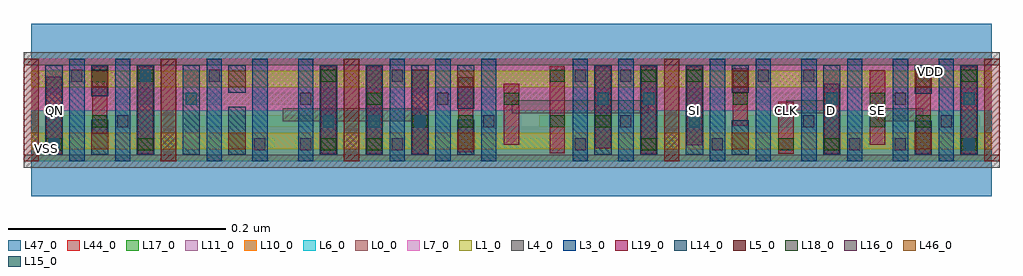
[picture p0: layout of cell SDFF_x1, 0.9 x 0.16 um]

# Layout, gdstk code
import gdstk
lib = gdstk.Library(unit=1e-6, precision=5e-10)
def R(c, l, rs):  # rectangles x0, y0, x1, y1
    for r in rs: c.add(gdstk.rectangle(r[:2], r[2:], *l))
def A(c, l, x, y, w, h, nx, ny, dx, dy):  # array of equal rectangles
    R(c, l, [(x+i*dx, y+j*dy, x+i*dx+w, y+j*dy+h) for i in range(nx) for j in range(ny)])
L0_0 = (0, 0)
L1_0 = (1, 0)
L3_0 = (3, 0)
L4_0 = (4, 0)
L5_0 = (5, 0)
L6_0 = (6, 0)
L7_0 = (7, 0)
L10_0 = (10, 0)
L11_0 = (11, 0)
L14_0 = (14, 0)
L15_0 = (15, 0)
L16_0 = (16, 0)
L17_0 = (17, 0)
L18_0 = (18, 0)
L19_0 = (19, 0)
L44_0 = (44, 0)
L46_0 = (46, 0)
L47_0 = (47, 0)

sdff_x1 = lib.new_cell('SDFF_x1')
R(sdff_x1, L0_0, [(0,0.047,0.882,0.094)])
R(sdff_x1, L1_0, [(0,0.011,0.882,0.026), (0,0.068,0.882,0.083)])
A(sdff_x1, L3_0, 0.161, 0, 0.014, 0.094, 3, 1, 0.042, 0)
A(sdff_x1, L3_0, 0.329, 0, 0.014, 0.094, 3, 1, 0.042, 0)
A(sdff_x1, L3_0, 0.623, 0, 0.014, 0.094, 6, 1, 0.042, 0)
R(sdff_x1, L3_0, [(0.035,0,0.049,0.094), (0.077,0,0.091,0.094), (0.497,0,0.511,0.094), (0.539,0,0.553,0.094)])
R(sdff_x1, L4_0, [(-0.007,-0.006,0.889,0.006), (0.231,0.0365,0.357,0.0485), (0.777,0.0365,0.819,0.0485), (0.441,0.044,0.567,0.056), (0.693,0.044,0.735,0.056), (-0.007,0.088,0.889,0.1)])
A(sdff_x1, L5_0, 0.287, 0, 0.014, 0.094, 3, 1, 0.294, 0)
R(sdff_x1, L5_0, [(-0.007,0,0.007,0.094), (0.119,0,0.133,0.094)])
R(sdff_x1, L6_0, [(0,0,0.882,0.047)])
R(sdff_x1, L7_0, [(0,0.047,0.882,0.094)])
R(sdff_x1, L10_0, [(0,0,0.882,0.047)])
R(sdff_x1, L11_0, [(0,0.047,0.882,0.094)])
A(sdff_x1, L14_0, 0.265, 0.006, 0.016, 0.082, 3, 1, 0.042, 0)
A(sdff_x1, L14_0, 0.517, 0.006, 0.016, 0.082, 3, 1, 0.042, 0)
R(sdff_x1, L14_0, [(0.013,0.006,0.029,0.088), (0.055,0.006,0.071,0.038), (0.097,0.006,0.113,0.088), (0.139,0.006,0.155,0.088), (0.181,0.006,0.197,0.05), (0.391,0.006,0.407,0.038), (0.643,0.006,0.659,0.0375), (0.727,0.006,0.743,0.088), (0.811,0.006,0.827,0.037), (0.853,0.006,0.869,0.088), (0.391,0.048,0.407,0.088), (0.055,0.0595,0.071,0.088), (0.811,0.062,0.827,0.088), (0.181,0.063,0.197,0.088), (0.643,0.063,0.659,0.088)])
A(sdff_x1, L15_0, 0.268, 0.031, 0.01, 0.011, 3, 1, 0.042, 0)
R(sdff_x1, L15_0, [(0.016,0.01,0.026,0.021), (0.856,0.01,0.866,0.021), (0.604,0.031,0.614,0.042), (0.142,0.052,0.152,0.063), (0.52,0.052,0.53,0.063), (0.562,0.052,0.572,0.063), (0.73,0.052,0.74,0.063), (0.856,0.052,0.866,0.063), (0.1,0.073,0.11,0.084)])
A(sdff_x1, L16_0, 0.499, 0.01, 0.01, 0.011, 3, 1, 0.126, 0)
A(sdff_x1, L16_0, 0.163, 0.073, 0.01, 0.011, 3, 1, 0.168, 0)
R(sdff_x1, L16_0, [(0.205,0.01,0.215,0.021), (0.247,0.01,0.257,0.021), (0.331,0.01,0.341,0.021), (0.793,0.01,0.803,0.021), (0.079,0.031,0.089,0.042), (0.415,0.031,0.425,0.042), (0.541,0.031,0.551,0.042), (0.709,0.031,0.719,0.042), (0.835,0.031,0.845,0.042), (0.247,0.052,0.257,0.063), (0.373,0.052,0.383,0.063), (0.793,0.052,0.803,0.063), (0.037,0.073,0.047,0.084), (0.541,0.073,0.551,0.084), (0.667,0.073,0.677,0.084), (0.709,0.073,0.719,0.084)])
R(sdff_x1, L17_0, [(0.01,0.01,0.06,0.021), (0.094,0.01,0.2235,0.021), (0.242,0.01,0.286,0.021), (0.305,0.01,0.577,0.021), (0.4945,0.01,0.591,0.021), (0.615,0.01,0.707,0.021), (0.725,0.01,0.7695,0.021), (0.789,0.01,0.872,0.021), (0.799,0.01,0.87,0.021), (0.016,0.031,0.105,0.042), (0.021,0.031,0.324,0.042), (0.261,0.031,0.2945,0.042), (0.342,0.031,0.367,0.042), (0.3455,0.031,0.398,0.042), (0.346,0.031,0.4355,0.042), (0.4665,0.031,0.619,0.042), (0.5255,0.031,0.602,0.042), (0.5835,0.031,0.638,0.042), (0.6565,0.031,0.871,0.042), (0.672,0.031,0.771,0.042), (0.0645,0.052,0.268,0.063), (0.2305,0.052,0.32,0.063), (0.3045,0.052,0.334,0.063), (0.369,0.052,0.5145,0.063), (0.3845,0.052,0.54,0.063), (0.558,0.052,0.639,0.063), (0.591,0.052,0.7455,0.063), (0.764,0.052,0.813,0.063), (0.77,0.052,0.8145,0.063), (0.845,0.052,0.87,0.063), (0.019,0.073,0.0735,0.084), (0.0915,0.073,0.1165,0.084), (0.1345,0.073,0.3495,0.084), (0.186,0.073,0.4895,0.084), (0.315,0.073,0.519,0.084), (0.537,0.073,0.5805,0.084), (0.5985,0.073,0.687,0.084), (0.705,0.073,0.871,0.084)])
R(sdff_x1, L18_0, [(0.014,0.01,0.028,0.021), (0.098,0.01,0.112,0.021), (0.266,0.01,0.28,0.021), (0.308,0.01,0.322,0.021), (0.56,0.01,0.574,0.021), (0.686,0.01,0.7,0.021), (0.728,0.01,0.742,0.021), (0.854,0.01,0.868,0.021), (0.056,0.031,0.07,0.042), (0.35,0.031,0.364,0.042), (0.392,0.031,0.406,0.042), (0.476,0.031,0.49,0.042), (0.518,0.031,0.532,0.042), (0.77,0.031,0.784,0.042), (0.812,0.031,0.826,0.042), (0.308,0.052,0.322,0.063), (0.434,0.052,0.448,0.063), (0.644,0.052,0.658,0.063), (0.77,0.052,0.784,0.063), (0.056,0.073,0.07,0.084), (0.098,0.073,0.112,0.084), (0.266,0.073,0.28,0.084), (0.476,0.073,0.49,0.084), (0.56,0.073,0.574,0.084), (0.602,0.073,0.616,0.084), (0.854,0.073,0.868,0.084)])
R(sdff_x1, L19_0, [(0.014,0.007,0.028,0.0775), (0.098,0.007,0.112,0.087), (0.266,0.007,0.28,0.087), (0.308,0.007,0.322,0.087), (0.308,0.007,0.322,0.0855), (0.35,0.007,0.364,0.084), (0.56,0.007,0.574,0.087), (0.686,0.007,0.7,0.0545), (0.728,0.007,0.742,0.071), (0.812,0.007,0.826,0.0835), (0.854,0.007,0.868,0.087), (0.476,0.0075,0.49,0.087), (0.392,0.008,0.406,0.077), (0.518,0.012,0.532,0.087), (0.602,0.0145,0.616,0.087), (0.434,0.015,0.448,0.071), (0.77,0.015,0.784,0.0835), (0.056,0.025,0.07,0.087), (0.644,0.0325,0.658,0.0855), (0.518,0.0375,0.532,0.087)])
R(sdff_x1, L44_0, [(0,0,0.882,0.094)])
R(sdff_x1, L46_0, [(0.055,0.011,0.071,0.026), (0.181,0.011,0.197,0.026), (0.391,0.011,0.407,0.026), (0.643,0.011,0.659,0.026), (0.811,0.011,0.827,0.026), (0.055,0.068,0.071,0.083), (0.181,0.068,0.197,0.083), (0.391,0.068,0.407,0.083), (0.643,0.068,0.659,0.083), (0.811,0.068,0.827,0.083)])
R(sdff_x1, L47_0, [(0,-0.032,0.882,0.032), (0,0.062,0.882,0.126)])
sdff_x1.add(gdstk.Label('SE', (0.777,0.047), layer=19, texttype=2))
sdff_x1.add(gdstk.Label('D', (0.735,0.047), layer=19, texttype=2))
sdff_x1.add(gdstk.Label('SI', (0.609,0.047), layer=19, texttype=2))
sdff_x1.add(gdstk.Label('CLK', (0.693,0.047), layer=19, texttype=2))
sdff_x1.add(gdstk.Label('QN', (0.021,0.047), layer=19, texttype=2))
sdff_x1.add(gdstk.Label('VDD', (0.826,0.082), layer=47, texttype=2))
sdff_x1.add(gdstk.Label('VSS', (0.014,0.012), layer=47, texttype=2))
sdff_x1.add(gdstk.Label('VDD', (0.824,0.091), layer=0, texttype=2))
sdff_x1.add(gdstk.Label('VSS', (0.01,0.003), layer=54, texttype=2))

lib.write_gds('SDFF_x1.gds')
